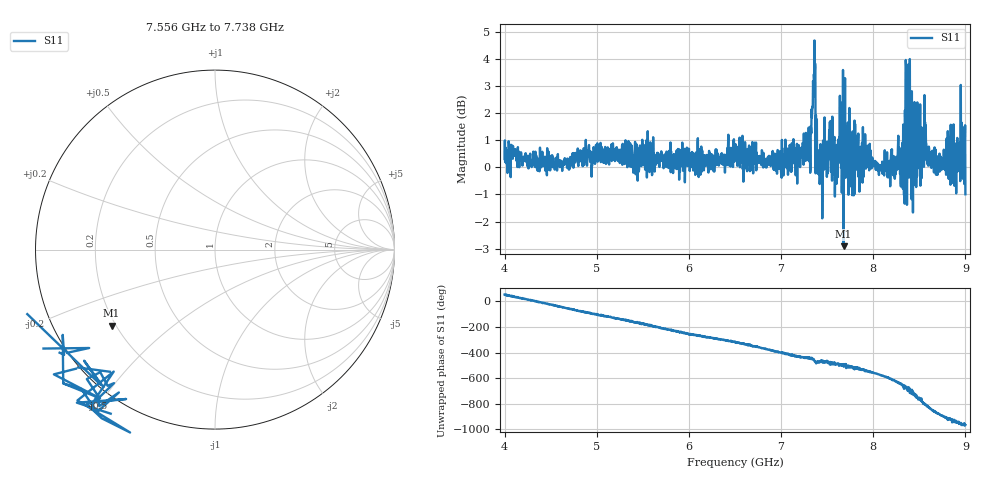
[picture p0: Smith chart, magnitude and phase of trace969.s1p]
! Created with skrf 1.8.0 (http://scikit-rf.org).
# Hz S RI R 50.0
!freq ReS11 ImS11
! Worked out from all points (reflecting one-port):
!   1601 points, 4 GHz to 9 GHz, reference 50 ohm
!   lowest |S11| = -2.9 dB at 7.678 GHz (marker M1), VSWR 6.03, Z = 9.15 - j15.9 ohm
!   phase of S11 starts at 53 deg and turns -1018 deg over the sweep
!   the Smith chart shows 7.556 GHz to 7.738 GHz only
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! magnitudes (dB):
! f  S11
! 4 GHz  0.3
! 4.625 GHz  -0.1
! 5.25 GHz  0.2
! 5.875 GHz  0.2
! 6.5 GHz  0.8
! 7.125 GHz  0.6
! 7.297 GHz  0.8
! 7.328 GHz  1.3
! 7.347 GHz  3.2
! 7.372 GHz  3.7
! 7.4 GHz  -0.2
! 7.425 GHz  0.2
! 7.538 GHz  1.7
! 7.609 GHz  0.3
! 7.65 GHz  1.8
! 7.678 GHz  -2.9
! 7.75 GHz  0.8
! 8.266 GHz  0.5
! 8.316 GHz  0.6
! 8.331 GHz  -0.1
! 8.347 GHz  1.3
! 8.375 GHz  1.6
! 8.412 GHz  1.3
! 8.553 GHz  0.6
! 8.606 GHz  0.7
! 8.7 GHz  0.1
! 8.972 GHz  0.4
! 9 GHz  -1.0
